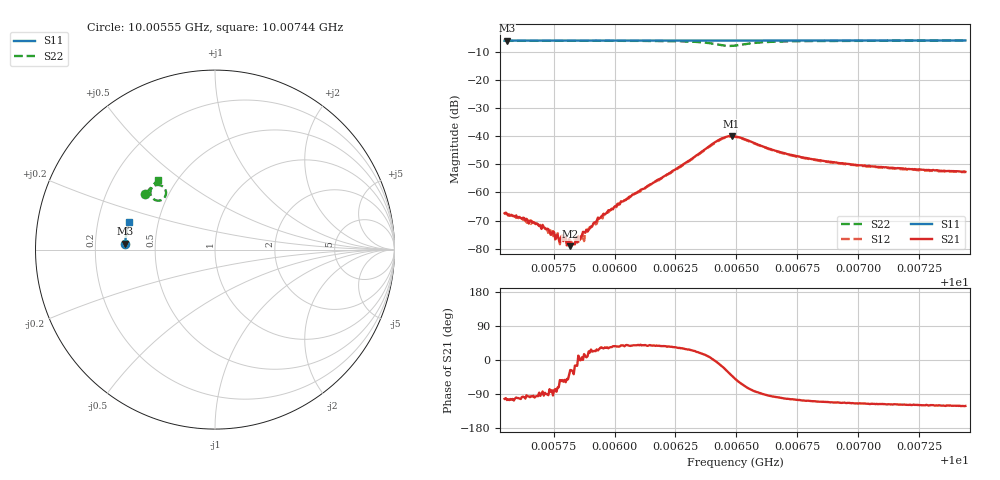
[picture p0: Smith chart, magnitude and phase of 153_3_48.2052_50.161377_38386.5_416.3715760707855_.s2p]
#  HZ  S  RI  R  50.00
! Rohde & Schwarz Vector Network Analyzer
! Rohde-Schwarz,ZNB20-2Port,1311601062101988,3.16
! Created: UTC 3/20/2024, 11:42:55 AM
! freq[Hz]  re:S11  im:S11  re:S21  im:S21  re:S12  im:S12  re:S22  im:S22
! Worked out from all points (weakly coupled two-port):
!   401 points, 10.00555 GHz to 10.00744 GHz, reference 50 ohm
!   highest |S21| = -39.96 dB at 10.00648 GHz (marker M1); lowest = -79.1 dB at 10.00582 GHz (marker M2)
!   lowest |S11| = -6.0 dB at 10.00556 GHz (marker M3), VSWR 3.01, Z = 16.7 + j1.5 ohm
!   |S11| at or under -10 dB: nowhere
!   |S22| runs from -7.9 to -6.0 dB; largest |S21 - S12| = 0.00058
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1.0005548e10  -0.4996 0.0331  -9.17e-05 -0.000416  -7.35e-05 -0.000397  -0.388 0.3103
1.0005558e10  -0.4995 0.0338  -0.000114 -0.000403  -5.72e-05 -0.000412  -0.3875 0.311
1.0005633e10  -0.4994 0.0388  -6.41e-05 -0.000309  -4.13e-05 -0.000308  -0.3841 0.3154
1.0005714e10  -0.4991 0.044  1.42e-05 -0.000231  2.62e-05 -0.000225  -0.3802 0.3204
1.0005752e10  -0.4991 0.0464  3.56e-05 -0.000192  3.88e-05 -0.000148  -0.3783 0.3228
1.0005766e10  -0.4989 0.0474  5.32e-05 -0.000169  4.87e-05 -0.000182  -0.3776 0.3236
1.000579e10  -0.4989 0.0488  7.37e-05 -0.000114  7.9e-05 -0.000123  -0.3763 0.325
1.0005799e10  -0.4988 0.0495  8.49e-05 -0.000139  0.000102 -0.000122  -0.3758 0.3257
1.0005818e10  -0.4986 0.0508  9.91e-05 -4.91e-05  0.000119 -7.53e-05  -0.3748 0.3269
1.0005827e10  -0.4987 0.0513  0.000102 -5.76e-05  0.000113 -3.92e-05  -0.3742 0.3275
1.0005865e10  -0.4984 0.054  0.000169 2.11e-05  0.000148 3.21e-05  -0.3722 0.33
1.0005908e10  -0.4981 0.0567  0.000228 9.4e-05  0.000247 9.76e-05  -0.3696 0.3328
1.0005941e10  -0.498 0.0588  0.000301 0.000188  0.000294 0.00019  -0.3674 0.3348
1.0005993e10  -0.4978 0.0622  0.000403 0.000295  0.000405 0.000313  -0.3638 0.3385
1.0006182e10  -0.4963 0.0745  0.00135 0.00105  0.00125 0.00107  -0.3455 0.3527
1.0006423e10  -0.4935 0.0897  0.0083 -0.00109  0.00812 -0.000609  -0.2745 0.3285
1.000648e10  -0.4929 0.0929  0.0076 -0.00656  0.00777 -0.00606  -0.2909 0.2806
1.0006494e10  -0.493 0.0936  0.00644 -0.00752  0.00673 -0.00702  -0.303 0.2744
1.0006674e10  -0.4917 0.1051  -0.00083 -0.00525  -0.00057 -0.00518  -0.3598 0.3214
1.0006811e10  -0.4903 0.1138  -0.00124 -0.00369  -0.00105 -0.00369  -0.3538 0.343
1.0007128e10  -0.4858 0.1339  -0.00124 -0.00246  -0.00111 -0.00245  -0.3363 0.3692
1.000744e10  -0.4807 0.1535  -0.00121 -0.00199  -0.0011 -0.002  -0.3199 0.3864
